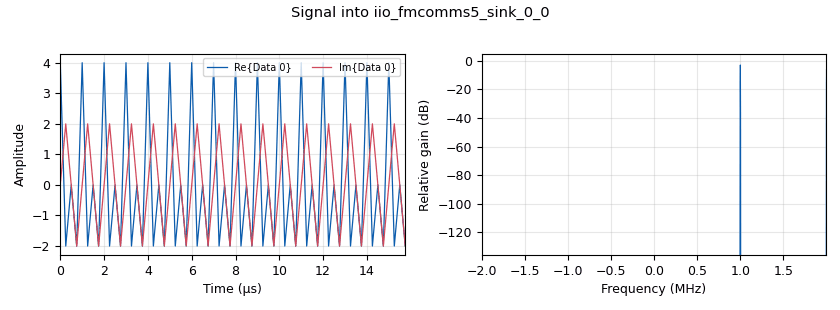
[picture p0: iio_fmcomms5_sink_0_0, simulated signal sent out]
options:
  parameters:
    author: root
    generate_options: qt_gui
    id: RADAR_CW_FMCOMM5_V2
    output_language: python
    title: Not titled yet
  states: {}

blocks:
- name: attenuation
  id: variable_qtgui_range
  parameters:
    label: attenuation(TX)
    orient: Qt.Horizontal
    rangeType: int
    start: '0'
    step: '1'
    stop: '80'
    value: '30'
  states: {}
- name: center_freq
  id: variable
  parameters:
    value: 2.45e9
  states: {}
- name: decim_fac
  id: variable
  parameters:
    value: 2**8
  states: {}
- name: freq
  id: variable
  parameters:
    value: (-6000000,6000000)
  states: {}
- name: gain
  id: variable_qtgui_range
  parameters:
    label: gain(RX)
    orient: Qt.Horizontal
    rangeType: int
    start: '0'
    step: '1'
    stop: '80'
    value: '10'
  states: {}
- name: min_output_buffer
  id: variable
  parameters:
    value: int(packet_len*2)
  states: {}
- name: packet_len
  id: variable
  parameters:
    value: 2**17
  states: {}
- name: samp_rate
  id: variable
  parameters:
    value: '4000000'
  states: {}
- name: analog_sig_source_x_0
  id: analog_sig_source_x
  parameters:
    amp: '2'
    freq: '1000000'
    offset: '0'
    phase: '0'
    samp_rate: samp_rate
    type: complex
    waveform: analog.GR_COS_WAVE
  states: {}
- name: analog_sig_source_x_1
  id: analog_sig_source_x
  parameters:
    amp: '2'
    freq: '2000000'
    offset: '0'
    phase: '0'
    samp_rate: samp_rate
    type: complex
    waveform: analog.GR_COS_WAVE
  states: {}
- name: blocks_add_xx_1
  id: blocks_add_xx
  parameters:
    minoutbuf: min_output_buffer
    type: complex
  states: {}
- name: iio_attr_sink_1
  id: iio_attr_sink
  parameters:
    attr_type: '0'
    channel: voltage0
    device: ad9361-phy
    output: 'False'
    required_enable: 'False'
    uri: 'local:'
  states: {}
- name: iio_attr_updater_0
  id: iio_attr_updater
  parameters:
    attr: hardwaregain
    update_interval_ms: '500'
    value: str(gain)
  states: {}
- name: iio_fmcomms5_sink_0_0
  id: iio_fmcomms5_sink
  parameters:
    attenuation1: attenuation
    attenuation2: '10.0'
    attenuation3: '10.0'
    attenuation4: '0'
    bandwidth: samp_rate
    buffer_size: 2**13
    cyclic: 'False'
    filter: ''
    frequency1: int(center_freq)
    frequency2: int(center_freq)
    rf_port_select: '''A'''
    samplerate: samp_rate
    tx1_en: 'True'
    tx2_en: 'False'
    tx3_en: 'False'
    tx4_en: 'False'
    uri: 'local:'
  states: {}
- name: iio_fmcomms5_source_0_0
  id: iio_fmcomms5_source
  parameters:
    bandwidth: samp_rate
    bbdc: 'True'
    buffer_size: 2**13
    filter: ''
    frequency1: int(center_freq)
    frequency2: int(center_freq)
    gain1: '''manual'''
    gain2: '''fast_attack'''
    gain3: '''manual'''
    gain4: '''fast_attack'''
    manual_gain1: '64'
    manual_gain2: '64'
    manual_gain3: '64'
    manual_gain4: '64'
    minoutbuf: min_output_buffer
    quadrature: 'True'
    rf_port_select: '''A_BALANCED'''
    rfdc: 'True'
    rx1_en: 'True'
    rx2_en: 'False'
    rx3_en: 'False'
    rx4_en: 'False'
    samplerate: samp_rate
    uri: 'local:'
  states: {}
- name: qtgui_freq_sink_x_0
  id: qtgui_freq_sink_x
  parameters:
    bw: samp_rate
    fc: '2450000000'
    fftsize: packet_len//decim_fac
    label2: ''
    name: QT GUI Plot
    nconnections: '2'
    showports: 'True'
    type: complex
    wintype: firdes.WIN_BLACKMAN_hARRIS
  states: {}

connections:
- [analog_sig_source_x_0, '0', blocks_add_xx_1, '0']
- [analog_sig_source_x_1, '0', blocks_add_xx_1, '1']
- [blocks_add_xx_1, '0', iio_fmcomms5_sink_0_0, '0']
- [blocks_add_xx_1, '0', qtgui_freq_sink_x_0, '0']
- [iio_attr_updater_0, out, iio_attr_sink_1, attr]
- [iio_fmcomms5_source_0_0, '0', qtgui_freq_sink_x_0, '1']

metadata:
  file_format: 1
